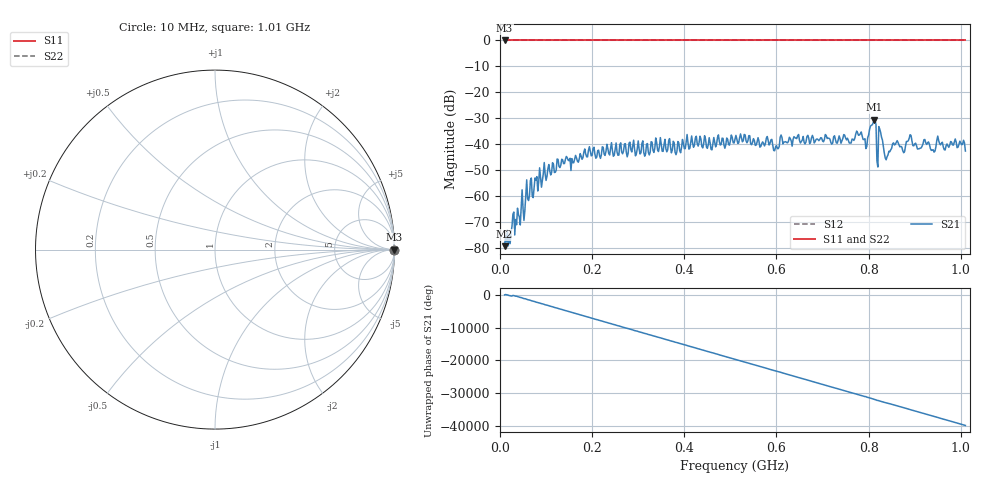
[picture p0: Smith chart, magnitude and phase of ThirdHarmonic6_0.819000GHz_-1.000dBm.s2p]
! 8/16/2025 3:14:32 AM
! C:\ANRITSUVNA\TEMP\TEMP.S2P
! CHANNEL.1
! TR.MEASUREMENT
! RAW.DATA
! RF.CORRECTION.OFF
! AVERAGING.OFF
! IF.BANDWIDTH: 5KHZ
! SWEEPTYPE:  FREQ.SWEEP(Linear)
! Reference Plane Port Info
! PORT:  PORT1  PORT2
! DISTANCE:  0  m  0  m
! TIME:  0  s  0  s
! PHASE.OFFSET:  0  deg.  0  deg.
! LOSS:  0  dB  0  dB
! REF.LOSS:  0  dB  0  dB
! REF.FREQ:  0  Hz  0  Hz
! Power Info
! POWER:  -20  dBm  -20  dBm
! EFF.POWER:  -20  dBm  -20  dBm
! SOURCE.ATTEN:  0  dB  0  dB
! TEST.ATTEN:  0  dB  0  dB
# GHZ S RI R 50.0
! FREQ.GHZ  S11RE  S11IM  S21RE  S21IM  S12RE  S12IM  S22RE  S22IM
!; PortSelection: Port_12
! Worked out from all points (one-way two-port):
!   501 points, 10 MHz to 1.01 GHz, reference 50 ohm
!   highest |S21| = -30.52 dB at 812 MHz (marker M1); lowest = -79.1 dB at 10 MHz (marker M2)
!   lowest |S11| = 0.0 dB at 10 MHz (marker M3)
!   |S11| at or under -10 dB: nowhere
!   |S22| runs from 0.0 to 0.0 dB; largest |S21 - S12| = 1
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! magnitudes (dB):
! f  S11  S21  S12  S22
! 10 MHz  0.0  -79.1  0.0  0.0
! 82 MHz  0.0  -57.9  0.0  0.0
! 178 MHz  0.0  -45.7  0.0  0.0
! 344 MHz  0.0  -42.7  0.0  0.0
! 510 MHz  0.0  -38.0  0.0  0.0
! 598 MHz  0.0  -41.0  0.0  0.0
! 612 MHz  0.0  -37.3  0.0  0.0
! 678 MHz  0.0  -36.5  0.0  0.0
! 760 MHz  0.0  -39.4  0.0  0.0
! 778 MHz  0.0  -36.5  0.0  0.0
! 792 MHz  0.0  -37.8  0.0  0.0
! 812 MHz  0.0  -30.5  0.0  0.0
! 816 MHz  0.0  -32.4  0.0  0.0
! 822 MHz  0.0  -33.1  0.0  0.0
! 826 MHz  0.0  -35.3  0.0  0.0
! 836 MHz  0.0  -45.2  0.0  0.0
! 844 MHz  0.0  -42.6  0.0  0.0
! 858 MHz  0.0  -40.0  0.0  0.0
! 876 MHz  0.0  -43.2  0.0  0.0
! 890 MHz  0.0  -36.3  0.0  0.0
! 910 MHz  0.0  -41.6  0.0  0.0
! 1.01 GHz  0.0  -42.5  0.0  0.0
